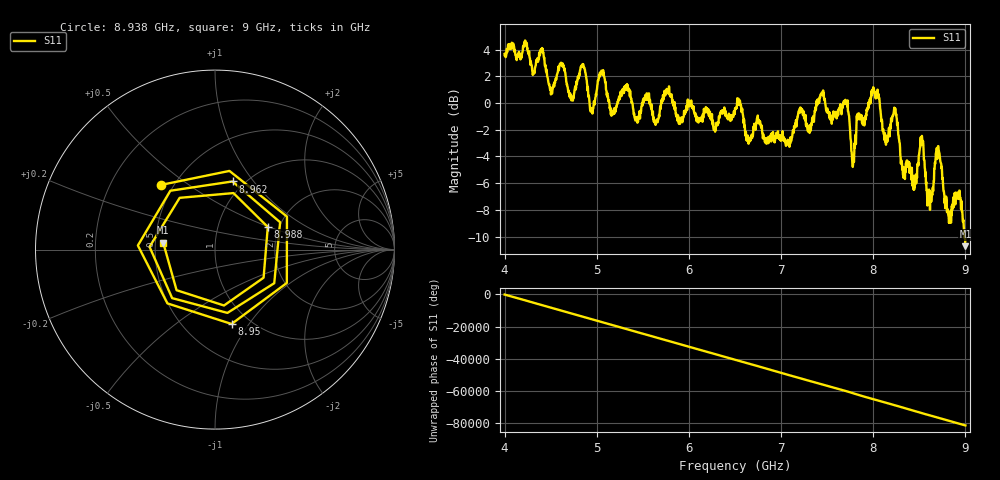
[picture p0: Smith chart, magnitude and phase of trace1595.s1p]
! Created with skrf 1.8.0 (http://scikit-rf.org).
# Hz S RI R 50.0
!freq ReS11 ImS11
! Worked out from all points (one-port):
!   1601 points, 4 GHz to 9 GHz, reference 50 ohm
!   lowest |S11| = -10.7 dB at 9 GHz (marker M1), VSWR 1.82, Z = 27.5 + j2.33 ohm
!   |S11| at or under -10 dB: 8.989547 GHz to end of sweep
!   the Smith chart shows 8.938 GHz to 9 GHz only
!   S11 on the Smith chart (normalised r, x): 8.938 GHz: 0.43, +0.40; 8.95 GHz: 0.82, -0.83; 8.962 GHz: 0.88, +0.79; 8.988 GHz: 1.75, +0.49; 9 GHz: 0.55, +0.05
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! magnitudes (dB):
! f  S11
! 4 GHz  3.7
! 4.4 GHz  3.9
! 4.506 GHz  0.9
! 4.625 GHz  2.8
! 4.725 GHz  0.2
! 4.847 GHz  2.9
! 4.944 GHz  -0.4
! 5.05 GHz  2.4
! 5.25 GHz  0.3
! 5.875 GHz  -1.0
! 6.5 GHz  -0.4
! 7.125 GHz  -2.2
! 7.444 GHz  0.8
! 7.697 GHz  0.2
! 7.75 GHz  -2.2
! 7.788 GHz  -4.3
! 8.022 GHz  0.7
! 8.375 GHz  -4.6
! 8.45 GHz  -6.3
! 8.525 GHz  -2.9
! 8.612 GHz  -6.6
! 8.703 GHz  -3.2
! 8.825 GHz  -8.6
! 8.938 GHz  -6.6
! 8.95 GHz  -7.4
! 8.962 GHz  -8.1
! 8.988 GHz  -9.9
! 9 GHz  -10.7
